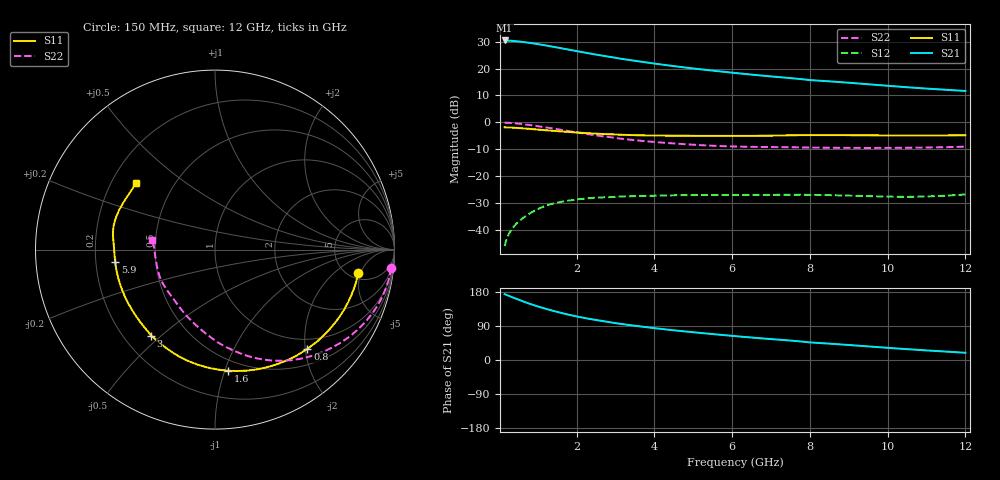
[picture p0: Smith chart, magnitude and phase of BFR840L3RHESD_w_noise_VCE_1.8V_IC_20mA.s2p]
! Infineon Technologies  Discrete & RF Semiconductors
! BFR840L3RHESD
! VCE =  1.8 V,  IC =  20 mA
! Common Emitter S-Parameters:  Jun 2012
# GHz  S  MA  R  50
!  f  S11  S21  S12  S22
! GHz  MAG  ANG  MAG  ANG  MAG  ANG  MAG  ANG
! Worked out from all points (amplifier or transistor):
!   91 points, 150 MHz to 12 GHz, reference 50 ohm
!   highest |S21| = 30.4 dB at 150 MHz (marker M1)
!   |S21| within 3 dB of that: start of sweep to 1.645 GHz
!   unconditionally stable (mu >= 1): 7.45 GHz to end of sweep
!   at 1.3 GHz: K = 0.19, MSG = 29.5 dB, |S12| = -30.6 dB
!   at 4.3 GHz: K = 0.57, MSG = 24.2 dB, |S12| = -27.2 dB
!   at 12 GHz: K = 1.80, MAG = 14.1 dB, |S12| = -26.8 dB
!   lowest NFmin = 1.09 dB at 450 MHz
!   S11 on the Smith chart (normalised r, x): 150 MHz: 5.94, -4.54; 800 MHz: 0.79, -2.04; 1.6 GHz: 0.41, -1.03; 3 GHz: 0.31, -0.46; 5.9 GHz: 0.28, -0.06; 12 GHz: 0.30, +0.34
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0.15  0.8089 -9.4  33.3 173.8  0.005 85.2  0.9869 -6.0
0.3  0.8011 -18.6  32.91 167.6  0.0095 81.2  0.9756 -13.0
0.5  0.7851 -30.5  31.93 159.5  0.0141 74.5  0.9481 -21.5
0.7  0.7659 -41.8  30.67 151.8  0.0183 67.4  0.9118 -29.3
0.8  0.7558 -47.1  29.98 148.2  0.0204 64.1  0.8919 -33.0
1  0.7353 -57.3  28.5 141.5  0.0244 58.5  0.8503 -40.0
1.2  0.7154 -66.8  26.95 135.4  0.028 53.9  0.8084 -46.6
1.4  0.6964 -75.6  25.41 129.7  0.031 49.9  0.7672 -52.7
1.6  0.6788 -83.8  23.9 124.4  0.0333 46.4  0.7272 -58.4
1.9  0.6552 -95.1  21.79 117.2  0.036 42.0  0.6704 -66.1
2.2  0.6348 -105.2  19.88 111.0  0.0382 38.4  0.6186 -73.1
2.6  0.6118 -116.5  17.68 103.9  0.0402 34.6  0.5604 -81.3
3  0.5971 -126.6  15.87 97.4  0.0413 31.2  0.5154 -88.6
3.5  0.5781 -137.3  13.94 90.4  0.0425 28.7  0.4664 -97.1
4.2  0.5676 -149.6  11.86 81.8  0.0437 25.9  0.4208 -107.6
5  0.5623 -161.6  10.05 73.3  0.0445 23.7  0.3843 -118.8
5.9  0.5603 -172.8  8.538 64.7  0.0447 22.3  0.3589 -130.6
6.1  0.5603 -175.0  8.251 62.8  0.0448 22.0  0.3555 -133.1
8  0.5803 165.4  6.109 46.4  0.0449 20.0  0.3401 -157.7
8.5  0.5798 161.5  5.792 43.2  0.0444 19.8  0.3374 -162.1
10.5  0.5706 147.0  4.497 28.6  0.0413 26.6  0.3374 -179.5
12  0.5754 139.8  3.84 19.1  0.0457 35.2  0.3533 171.3
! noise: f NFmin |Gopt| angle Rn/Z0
0.45  1.09  0.06  16  0.16
0.9  1.12  0.07  29  0.15
1.9  1.15  0.1  55  0.14
3.5  1.14  0.12  79  0.13
4  1.15  0.14  86  0.13
5.5  1.17  0.17  104  0.12
7  1.23  0.19  122  0.12
8  1.28  0.19  133  0.12
10  1.37  0.19  157  0.12
12  1.49  0.21  -170  0.12
